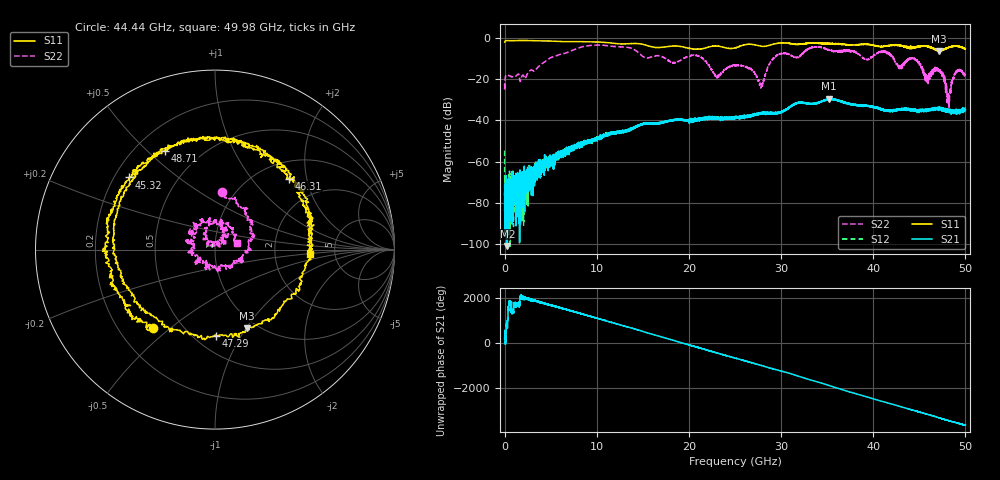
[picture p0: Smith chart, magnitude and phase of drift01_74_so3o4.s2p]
!Created with skrf (http://scikit-rf.org).
# Hz S RI R 50.0
!freq ReS11 ImS11 ReS21 ImS21 ReS12 ImS12 ReS22 ImS22
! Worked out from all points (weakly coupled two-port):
!   10001 points, 300 kHz to 50 GHz, reference 50 ohm
!   highest |S21| = -29.50 dB at 35.23 GHz (marker M1); lowest = -100.9 dB at 295.3 MHz (marker M2)
!   lowest |S11| = -6.5 dB at 47.15 GHz (marker M3), VSWR 2.80, Z = 44.7 - j50.5 ohm
!   |S11| at or under -10 dB: nowhere
!   |S22| runs from -34.4 to -3.6 dB; largest |S21 - S12| = 0.004
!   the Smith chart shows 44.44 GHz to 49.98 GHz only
!   S11 on the Smith chart (normalised r, x): 44.44 GHz: 0.34, -0.44; 45.32 GHz: 0.26, +0.34; 46.31 GHz: 1.35, +1.58; 47.29 GHz: 0.63, -0.79; 48.71 GHz: 0.32, +0.57; 49.98 GHz: 3.22, -0.22
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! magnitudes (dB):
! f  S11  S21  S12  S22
! 300 kHz  -2.1  -75.8  -54.6  -22.4
! 295.3 MHz  -1.4  -100.9  -76.8  -18.0
! 8.335 GHz  -1.9  -51.0  -50.8  -4.5
! 16.67 GHz  -4.8  -41.2  -41.6  -8.7
! 20.99 GHz  -5.6  -40.0  -40.1  -8.8
! 23.1 GHz  -4.1  -39.1  -38.9  -18.5
! 25 GHz  -5.0  -39.0  -39.0  -13.5
! 27.86 GHz  -4.2  -37.1  -36.8  -23.0
! 29.42 GHz  -2.9  -36.5  -36.3  -9.1
! 33.34 GHz  -2.6  -32.0  -32.0  -4.7
! 35.23 GHz  -2.9  -29.5  -30.0  -6.1
! 41.67 GHz  -3.8  -35.5  -35.1  -7.8
! 42.89 GHz  -3.6  -34.8  -34.7  -13.9
! 44.44 GHz  -5.1  -35.0  -35.5  -9.9
! 45.32 GHz  -4.1  -35.4  -35.1  -15.1
! 46.31 GHz  -4.8  -35.1  -34.4  -18.0
! 47.15 GHz  -6.5  -34.4  -34.4  -16.4
! 47.29 GHz  -6.4  -34.8  -34.2  -16.6
! 48.19 GHz  -4.7  -35.3  -35.2  -32.3
! 48.71 GHz  -4.2  -36.1  -35.7  -19.5
! 49.98 GHz  -5.5  -34.7  -35.1  -18.0
! 50 GHz  -5.4  -35.1  -35.1  -18.2
